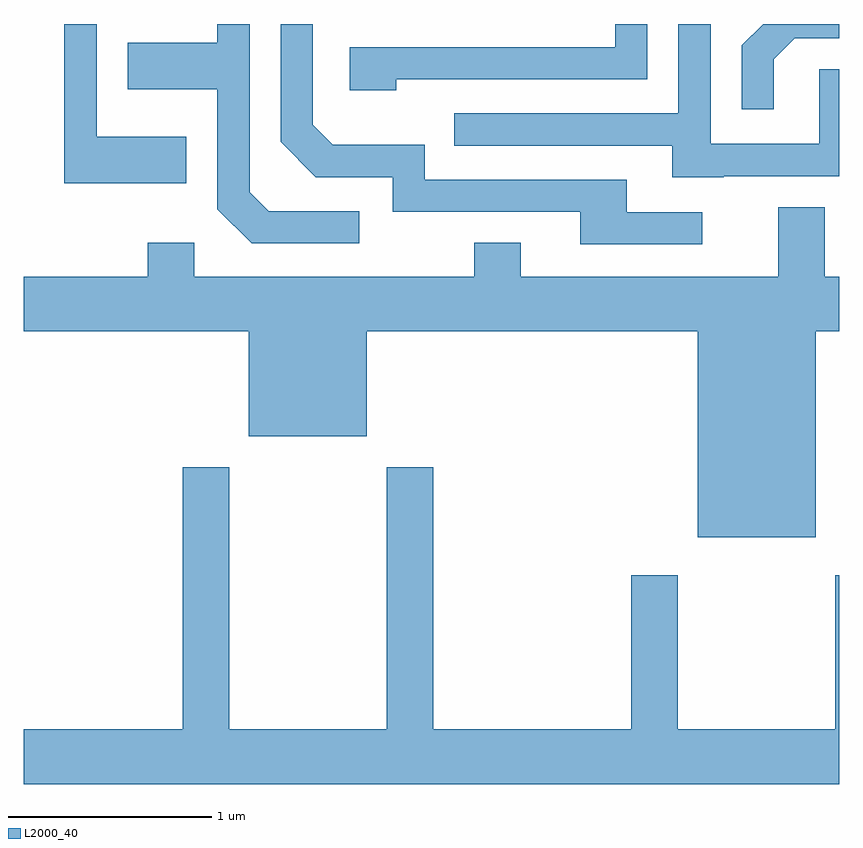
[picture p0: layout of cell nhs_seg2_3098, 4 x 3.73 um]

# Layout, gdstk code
import gdstk
lib = gdstk.Library(unit=1e-6, precision=1e-09)
def P(c, l, *ps):  # polygons
    for p in ps: c.add(gdstk.Polygon(p, *l))
L2000_40 = (2000, 40)

nhs_seg2_3098 = lib.new_cell('nhs_seg2_3098')
P(nhs_seg2_3098, L2000_40, [(277.439,1069.531),(278.669,1069.531),(278.669,1069.802),(278.511,1069.802),(278.511,1069.689),(277.211,1069.689),(277.211,1069.476),(277.439,1069.476)],
  [(279.289,1069.629),(279.392,1069.731),(279.611,1069.731),(279.611,1069.802),(279.237,1069.802),(279.131,1069.697),(279.131,1069.383),(279.289,1069.383)],
  [(278.938,1068.879),(278.569,1068.879),(278.569,1069.039),(277.579,1069.039),(277.579,1069.209),(277.127,1069.209),(277.029,1069.307),(277.029,1069.802),(276.871,1069.802),(276.871,1069.224),(277.044,1069.051),(277.421,1069.051),(277.421,1068.881),(278.341,1068.881),(278.341,1068.721),(278.938,1068.721)],
  [(279.045,1069.056),(279.611,1069.056),(279.611,1069.579),(279.511,1069.579),(279.511,1069.214),(278.979,1069.214),(278.979,1069.802),(278.821,1069.802),(278.821,1069.364),(277.723,1069.364),(277.723,1069.206),(278.791,1069.206),(278.791,1069.051),(279.045,1069.051)],
  [(277.258,1068.884),(276.812,1068.884),(276.719,1068.977),(276.719,1069.802),(276.561,1069.802),(276.561,1069.709),(276.121,1069.709),(276.121,1069.481),(276.561,1069.481),(276.561,1068.894),(276.729,1068.726),(277.258,1068.726)],
  [(276.409,1069.249),(275.969,1069.249),(275.969,1069.802),(275.811,1069.802),(275.811,1069.021),(276.409,1069.021)],
  [(279.494,1068.296),(279.611,1068.296),(279.611,1068.564),(279.539,1068.564),(279.539,1068.904),(279.311,1068.904),(279.311,1068.564),(278.049,1068.564),(278.049,1068.729),(277.821,1068.729),(277.821,1068.564),(276.449,1068.564),(276.449,1068.729),(276.221,1068.729),(276.221,1068.564),(275.611,1068.564),(275.611,1068.296),(276.716,1068.296),(276.716,1067.781),(277.294,1067.781),(277.294,1068.296),(278.916,1068.296),(278.916,1067.286),(279.494,1067.286)],
  [(279.611,1067.099),(279.591,1067.099),(279.591,1066.344),(278.819,1066.344),(278.819,1067.099),(278.591,1067.099),(278.591,1066.344),(277.619,1066.344),(277.619,1067.629),(277.391,1067.629),(277.391,1066.344),(276.619,1066.344),(276.619,1067.629),(276.391,1067.629),(276.391,1066.344),(275.611,1066.344),(275.611,1066.076),(279.611,1066.076)])

lib.write_gds('nhs_seg2_3098.gds')
